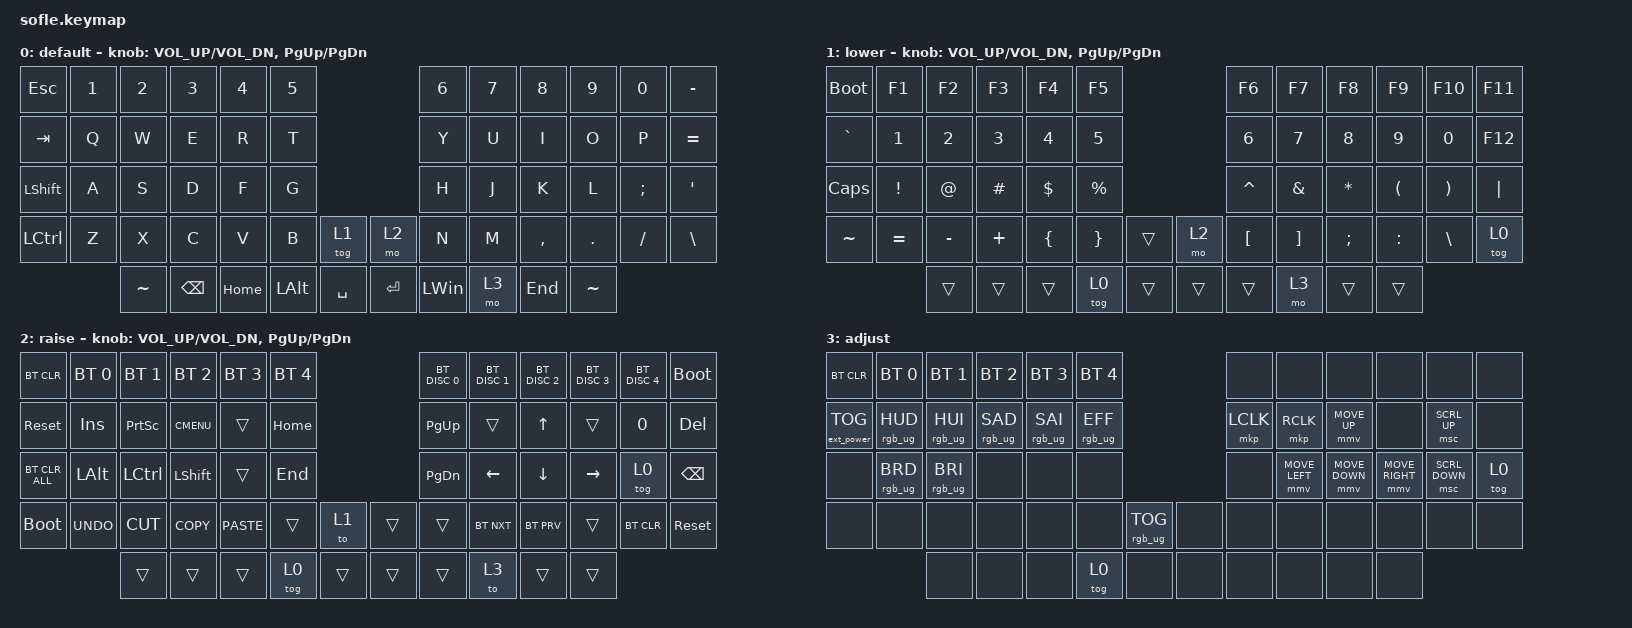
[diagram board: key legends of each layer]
/*
 * Copyright (c) 2020 The ZMK Contributors
 *
 * SPDX-License-Identifier: MIT
 */

#include <behaviors.dtsi>
#include <dt-bindings/zmk/bt.h>
#include <dt-bindings/zmk/ext_power.h>
#include <dt-bindings/zmk/keys.h>
#include <dt-bindings/zmk/pointing.h>
#include <dt-bindings/zmk/rgb.h>

#define BASE 0
#define LOWER 1
#define RAISE 2
#define ADJUST 3

/ {
    // Activate ADJUST layer by pressing raise and lower

    conditional_layers {
        compatible = "zmk,conditional-layers";

        adjust_layer {
            if-layers = <LOWER RAISE>;
            then-layer = <ADJUST>;
        };
    };

    keymap {
        compatible = "zmk,keymap";

        default_layer {
            display-name = "default";

            // ------------------------------------------------------------------------------------------------------------
            // |   `   |  1  |  2  |  3   |  4   |  5   |                   |  6   |  7    |  8    |  9   |   0   |       |
            // |  ESC  |  Q  |  W  |  E   |  R   |  T   |                   |  Y   |  U    |  I    |  O   |   P   | BKSPC |
            // |  TAB  |  A  |  S  |  D   |  F   |  G   |                   |  H   |  J    |  K    |  L   |   ;   |   '   |
            // | SHIFT |  Z  |  X  |  C   |  V   |  B   |  MUTE  |  |       |  N   |  M    |  ,    |  .   |   /   | SHIFT |
            //               | GUI | ALT  | CTRL | LOWER|  ENTER |  | SPACE | RAISE| CTRL  | ALT   | GUI  |

            bindings = <
&kp ESCAPE        &kp N1  &kp N2     &kp N3         &kp N4    &kp N5                                &kp N6        &kp N7  &kp N8     &kp N9     &kp N0    &kp MINUS
&kp TAB           &kp Q   &kp W      &kp E          &kp R     &kp T                                 &kp Y         &kp U   &kp I      &kp O      &kp P     &kp EQUAL
&kp LEFT_SHIFT    &kp A   &kp S      &kp D          &kp F     &kp G                                 &kp H         &kp J   &kp K      &kp L      &kp SEMI  &kp SQT
&kp LEFT_CONTROL  &kp Z   &kp X      &kp C          &kp V     &kp B         &tog 1       &mo 2      &kp N         &kp M   &kp COMMA  &kp DOT    &kp FSLH  &kp BACKSLASH
                          &kp TILDE  &kp BACKSPACE  &kp HOME  &kp LEFT_ALT  &kp SPACE    &kp ENTER  &kp LEFT_WIN  &mo 3   &kp END    &kp TILDE
            >;

            sensor-bindings = <&inc_dec_kp C_VOL_UP C_VOL_DN &inc_dec_kp PG_UP PG_DN>;
        };

        lower_layer {
            display-name = "lower";

            // TODO: Some binds are waiting for shifted keycode support.
            // ------------------------------------------------------------------------------------------------------------
            // |       |  F1 |  F2 |  F3  |  F4  |  F5  |                   |  F6  |  F7   |  F8   |  F9  |  F10  |  F11  |
            // |   `   |  1  |  2  |  3   |  4   |  5   |                   |  6   |  7    |  8    |  9   |   0   |  F12  |
            // |       |  !  |  @  |  #   |  $   |  %   |                   |  ^   |  &    |  *    |  (   |   )   |   |   |
            // |       |  =  |  -  |  +   |  {   |  }   |        |  |       |  [   |  ]    |  ;    |  :   |   \   |       |
            //               |     |      |      |      |        |  |       |      |       |       |      |

            bindings = <
&bootloader  &kp F1     &kp F2     &kp F3    &kp F4    &kp F5                       &kp F6     &kp F7    &kp F8     &kp F9     &kp F10   &kp F11
&kp GRAVE    &kp N1     &kp N2     &kp N3    &kp N4    &kp N5                       &kp N6     &kp N7    &kp N8     &kp N9     &kp N0    &kp F12
&kp CLCK     &kp EXCL   &kp AT     &kp HASH  &kp DLLR  &kp PRCNT                    &kp CARET  &kp AMPS  &kp ASTRK  &kp LPAR   &kp RPAR  &kp PIPE
&kp TILDE    &kp EQUAL  &kp MINUS  &kp PLUS  &kp LBRC  &kp RBRC   &trans    &mo 2   &kp LBKT   &kp RBKT  &kp SEMI   &kp COLON  &kp BSLH  &tog 0
                        &trans     &trans    &trans    &tog 0     &trans    &trans  &trans     &mo 3     &trans     &trans
            >;

            sensor-bindings = <&inc_dec_kp C_VOL_UP C_VOL_DN &inc_dec_kp PG_UP PG_DN>;
        };

        raise_layer {
            display-name = "raise";

            // ------------------------------------------------------------------------------------------------------------
            // | BTCLR | BT1  | BT2  |  BT3  |  BT4  |  BT5 |                |      |      |       |      |       |       |
            // |       | INS  | PSCR | GUI   |       |      |                | PGUP |      |   ^   |      |       |       |
            // |       | ALT  | CTRL | SHIFT |       | CAPS |                | PGDN |   <- |   v   |  ->  |  DEL  | BKSPC |
            // |       | UNDO | CUT  | COPY  | PASTE |      |      |  |      |      |      |       |      |       |       |
            //                |      |       |       |      |      |  |      |      |      |       |      |

            bindings = <
&bt BT_CLR      &bt BT_SEL 0  &bt BT_SEL 1  &bt BT_SEL 2  &bt BT_SEL 3  &bt BT_SEL 4                    &bt BT_DISC 0  &bt BT_DISC 1  &bt BT_DISC 2  &bt BT_DISC 3  &bt BT_DISC 4  &bootloader
&sys_reset      &kp INS       &kp PSCRN     &kp K_CMENU   &trans        &kp HOME                        &kp PG_UP      &trans         &kp UP         &trans         &kp N0         &kp DELETE
&bt BT_CLR_ALL  &kp LALT      &kp LCTRL     &kp LSHFT     &trans        &kp END                         &kp PG_DN      &kp LEFT       &kp DOWN       &kp RIGHT      &tog 0         &kp BSPC
&bootloader     &kp K_UNDO    &kp K_CUT     &kp K_COPY    &kp K_PASTE   &trans        &to 1     &trans  &trans         &bt BT_NXT     &bt BT_PRV     &trans         &bt BT_CLR     &sys_reset
                              &trans        &trans        &trans        &tog 0        &trans    &trans  &trans         &to 3          &trans         &trans
            >;

            sensor-bindings = <&inc_dec_kp C_VOL_UP C_VOL_DN &inc_dec_kp PG_UP PG_DN>;
        };

        adjust_layer {
            // ----------------------------------------------------------------------------------------------------------------------------
            // | BTCLR  |  BT1    |  BT2    |   BT3   |   BT4   |   BT5   |                  |      |      |       |      |       |       |
            // | EXTPWR | RGB_HUD | RGB_HUI | RGB_SAD | RGB_SAI | RGB_EFF |                  |      |      |       |      |       |       |
            // |        | RGB_BRD | RGB_BRI |         |         |         |                  |      |      |       |      |       |       |
            // |        |         |         |         |         |         | RGB_TOG | |      |      |      |       |      |       |       |
            //                    |         |         |         |         |         | |      |      |      |       |      |

            display-name = "adjust";
            bindings = <
&bt BT_CLR         &bt BT_SEL 0     &bt BT_SEL 1     &bt BT_SEL 2     &bt BT_SEL 3     &bt BT_SEL 4                               &none      &none           &none           &none            &none           &none
&ext_power EP_TOG  &rgb_ug RGB_HUD  &rgb_ug RGB_HUI  &rgb_ug RGB_SAD  &rgb_ug RGB_SAI  &rgb_ug RGB_EFF                            &mkp LCLK  &mkp RCLK       &mmv MOVE_UP    &none            &msc SCRL_UP    &none
&none              &rgb_ug RGB_BRD  &rgb_ug RGB_BRI  &none            &none            &none                                      &none      &mmv MOVE_LEFT  &mmv MOVE_DOWN  &mmv MOVE_RIGHT  &msc SCRL_DOWN  &tog 0
&none              &none            &none            &none            &none            &none            &rgb_ug RGB_TOG    &none  &none      &none           &none           &none            &none           &none
                                    &none            &none            &none            &tog 0           &none              &none  &none      &none           &none           &none
            >;
        };
    };
};
